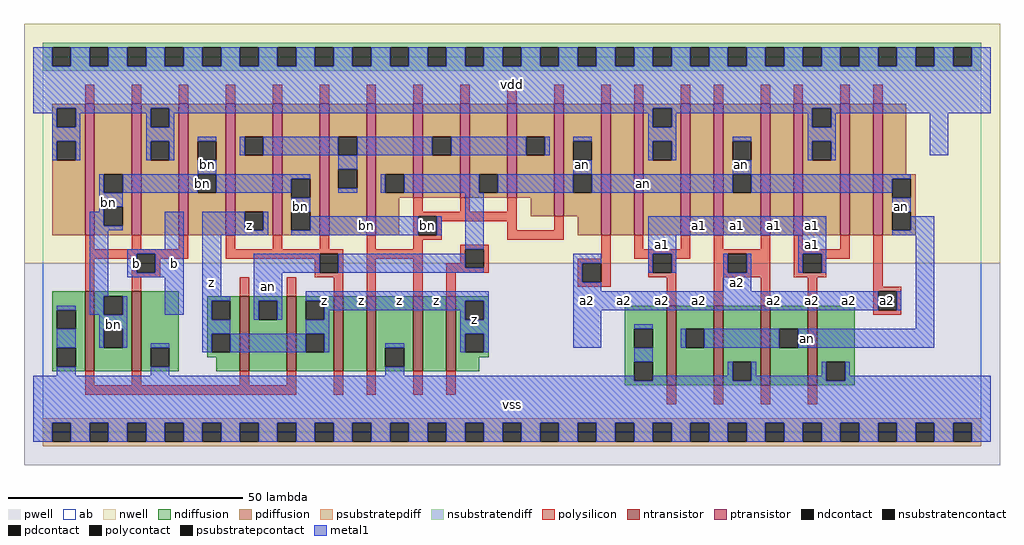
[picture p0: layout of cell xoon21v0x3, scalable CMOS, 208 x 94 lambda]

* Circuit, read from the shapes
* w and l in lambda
.subckt xoon21v0x3 a1 a2 an b bn vdd vss z
M1 bn b vss vss nfet w=17 l=2 m=2
M2 an b z vss nfet w=16 l=2 m=2
M3 n1 an z vss nfet w=16 l=2
M4 vss bn n1 vss nfet w=16 l=2
M5 n2 bn vss vss nfet w=16 l=2
M6 z an n2 vss nfet w=16 l=2
M7 an a1 vss vss nfet w=17 l=2 m=2
M8 vss a2 an vss nfet w=17 l=2 m=2
M9 bn b vdd vdd pfet w=28 l=2 m=3
M10 z an bn vdd pfet w=28 l=2 m=3
M11 an bn z vdd pfet w=28 l=2
M12 z bn an vdd pfet w=20 l=2 m=3
M13 an bn z vdd pfet w=24 l=2
M14 n3 a2 an vdd pfet w=28 l=2
M15 vdd a1 n3 vdd pfet w=28 l=2
M16 n4 a1 vdd vdd pfet w=28 l=2
M17 an a2 n4 vdd pfet w=28 l=2
M18 n5 a2 an vdd pfet w=28 l=2
M19 vdd a1 n5 vdd pfet w=28 l=2
M20 n6 a1 vdd vdd pfet w=28 l=2
M21 an a2 n6 vdd pfet w=28 l=2
.ends

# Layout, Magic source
magic
tech scmos
<< ab >>
rect 0 0 200 80
<< pwell >>
rect -4 -7 204 36
<< nwell >>
rect -4 36 204 87
<< polysilicon >>
rect 9 70 11 74
rect 19 70 21 74
rect 29 70 31 74
rect 39 70 41 74
rect 49 70 51 74
rect 59 70 61 74
rect 69 70 71 74
rect 79 70 81 74
rect 89 70 91 74
rect 99 70 101 74
rect 109 70 111 74
rect 119 70 121 74
rect 126 70 128 74
rect 136 70 138 74
rect 143 70 145 74
rect 153 70 155 74
rect 160 70 162 74
rect 170 70 172 74
rect 177 70 179 74
rect 79 47 81 50
rect 89 47 91 50
rect 99 47 101 50
rect 79 46 101 47
rect 79 42 80 46
rect 84 45 101 46
rect 84 42 85 45
rect 9 39 11 42
rect 19 39 21 42
rect 29 39 31 42
rect 9 38 31 39
rect 9 37 20 38
rect 9 30 11 37
rect 19 34 20 37
rect 24 37 31 38
rect 39 39 41 42
rect 49 39 51 42
rect 59 39 61 42
rect 69 39 71 42
rect 79 41 85 42
rect 99 43 101 45
rect 109 43 111 46
rect 99 41 111 43
rect 79 39 81 41
rect 39 38 64 39
rect 39 37 59 38
rect 24 34 25 37
rect 19 33 25 34
rect 58 34 59 37
rect 63 34 64 38
rect 58 33 64 34
rect 19 30 21 33
rect 42 29 44 33
rect 52 29 54 33
rect 62 29 64 33
rect 69 37 81 39
rect 69 29 71 37
rect 79 29 81 37
rect 89 39 95 40
rect 89 36 90 39
rect 86 35 90 36
rect 94 35 95 39
rect 119 37 121 42
rect 126 39 128 42
rect 136 39 138 42
rect 126 38 138 39
rect 126 37 130 38
rect 86 34 95 35
rect 114 36 121 37
rect 86 29 88 34
rect 114 32 115 36
rect 119 32 121 36
rect 129 34 130 37
rect 134 37 138 38
rect 143 39 145 42
rect 153 39 155 42
rect 143 38 155 39
rect 134 34 135 37
rect 129 33 135 34
rect 114 31 121 32
rect 133 27 135 33
rect 143 34 146 38
rect 150 34 155 38
rect 143 33 155 34
rect 160 39 162 42
rect 170 39 172 42
rect 160 38 172 39
rect 160 34 162 38
rect 166 37 172 38
rect 166 34 167 37
rect 160 33 167 34
rect 143 27 145 33
rect 153 27 155 33
rect 163 27 165 33
rect 177 31 179 42
rect 177 30 183 31
rect 9 10 11 13
rect 19 10 21 13
rect 42 10 44 13
rect 52 10 54 13
rect 9 8 54 10
rect 62 8 64 13
rect 69 8 71 13
rect 79 8 81 13
rect 86 8 88 13
rect 177 26 178 30
rect 182 26 183 30
rect 177 25 183 26
rect 133 6 135 10
rect 143 6 145 10
rect 153 6 155 10
rect 163 6 165 10
<< ndiffusion >>
rect 2 26 9 30
rect 2 22 3 26
rect 7 22 9 26
rect 2 18 9 22
rect 2 14 3 18
rect 7 14 9 18
rect 2 13 9 14
rect 11 29 19 30
rect 11 25 13 29
rect 17 25 19 29
rect 11 22 19 25
rect 11 18 13 22
rect 17 18 19 22
rect 11 13 19 18
rect 21 18 29 30
rect 21 14 23 18
rect 27 14 29 18
rect 35 28 42 29
rect 35 24 36 28
rect 40 24 42 28
rect 35 21 42 24
rect 35 17 36 21
rect 40 17 42 21
rect 35 16 42 17
rect 21 13 29 14
rect 37 13 42 16
rect 44 28 52 29
rect 44 24 46 28
rect 50 24 52 28
rect 44 13 52 24
rect 54 28 62 29
rect 54 24 56 28
rect 60 24 62 28
rect 54 21 62 24
rect 54 17 56 21
rect 60 17 62 21
rect 54 13 62 17
rect 64 13 69 29
rect 71 18 79 29
rect 71 14 73 18
rect 77 14 79 18
rect 71 13 79 14
rect 81 13 86 29
rect 88 28 95 29
rect 88 24 90 28
rect 94 24 95 28
rect 88 21 95 24
rect 88 17 90 21
rect 94 17 95 21
rect 88 16 95 17
rect 124 22 133 27
rect 124 18 126 22
rect 130 18 133 22
rect 88 13 93 16
rect 124 15 133 18
rect 124 11 126 15
rect 130 11 133 15
rect 124 10 133 11
rect 135 22 143 27
rect 135 18 137 22
rect 141 18 143 22
rect 135 10 143 18
rect 145 15 153 27
rect 145 11 147 15
rect 151 11 153 15
rect 145 10 153 11
rect 155 22 163 27
rect 155 18 157 22
rect 161 18 163 22
rect 155 10 163 18
rect 165 15 173 27
rect 165 11 167 15
rect 171 11 173 15
rect 165 10 173 11
<< pdiffusion >>
rect 2 69 9 70
rect 2 65 3 69
rect 7 65 9 69
rect 2 62 9 65
rect 2 58 3 62
rect 7 58 9 62
rect 2 42 9 58
rect 11 55 19 70
rect 11 51 13 55
rect 17 51 19 55
rect 11 48 19 51
rect 11 44 13 48
rect 17 44 19 48
rect 11 42 19 44
rect 21 69 29 70
rect 21 65 23 69
rect 27 65 29 69
rect 21 62 29 65
rect 21 58 23 62
rect 27 58 29 62
rect 21 42 29 58
rect 31 62 39 70
rect 31 58 33 62
rect 37 58 39 62
rect 31 55 39 58
rect 31 51 33 55
rect 37 51 39 55
rect 31 42 39 51
rect 41 63 49 70
rect 41 59 43 63
rect 47 59 49 63
rect 41 47 49 59
rect 41 43 43 47
rect 47 43 49 47
rect 41 42 49 43
rect 51 54 59 70
rect 51 50 53 54
rect 57 50 59 54
rect 51 47 59 50
rect 51 43 53 47
rect 57 43 59 47
rect 51 42 59 43
rect 61 63 69 70
rect 61 59 63 63
rect 67 59 69 63
rect 61 56 69 59
rect 61 52 63 56
rect 67 52 69 56
rect 61 42 69 52
rect 71 55 79 70
rect 71 51 73 55
rect 77 51 79 55
rect 71 50 79 51
rect 81 63 89 70
rect 81 59 83 63
rect 87 59 89 63
rect 81 50 89 59
rect 91 55 99 70
rect 91 51 93 55
rect 97 51 99 55
rect 91 50 99 51
rect 101 63 109 70
rect 101 59 103 63
rect 107 59 109 63
rect 101 50 109 59
rect 71 42 76 50
rect 104 46 109 50
rect 111 62 119 70
rect 111 58 113 62
rect 117 58 119 62
rect 111 55 119 58
rect 111 51 113 55
rect 117 51 119 55
rect 111 46 119 51
rect 114 42 119 46
rect 121 42 126 70
rect 128 69 136 70
rect 128 65 130 69
rect 134 65 136 69
rect 128 62 136 65
rect 128 58 130 62
rect 134 58 136 62
rect 128 42 136 58
rect 138 42 143 70
rect 145 62 153 70
rect 145 58 147 62
rect 151 58 153 62
rect 145 55 153 58
rect 145 51 147 55
rect 151 51 153 55
rect 145 42 153 51
rect 155 42 160 70
rect 162 69 170 70
rect 162 65 164 69
rect 168 65 170 69
rect 162 62 170 65
rect 162 58 164 62
rect 168 58 170 62
rect 162 42 170 58
rect 172 42 177 70
rect 179 55 184 70
rect 179 54 186 55
rect 179 50 181 54
rect 185 50 186 54
rect 179 47 186 50
rect 179 43 181 47
rect 185 43 186 47
rect 179 42 186 43
<< metal1 >>
rect -2 78 2 82
rect 6 78 10 82
rect 14 78 18 82
rect 22 78 26 82
rect 30 78 34 82
rect 38 78 42 82
rect 46 78 50 82
rect 54 78 58 82
rect 62 78 66 82
rect 70 78 74 82
rect 78 78 82 82
rect 86 78 90 82
rect 94 78 98 82
rect 102 78 106 82
rect 110 78 114 82
rect 118 78 122 82
rect 126 78 130 82
rect 134 78 138 82
rect 142 78 146 82
rect 150 78 154 82
rect 158 78 162 82
rect 166 78 170 82
rect 174 78 178 82
rect 182 78 186 82
rect 190 78 194 82
rect 198 78 202 82
rect -2 69 202 78
rect -2 68 3 69
rect 2 65 3 68
rect 7 68 23 69
rect 7 65 8 68
rect 2 62 8 65
rect 2 58 3 62
rect 7 58 8 62
rect 22 65 23 68
rect 27 68 130 69
rect 27 65 28 68
rect 22 62 28 65
rect 129 65 130 68
rect 134 68 164 69
rect 134 65 135 68
rect 22 58 23 62
rect 27 58 28 62
rect 33 62 37 63
rect 42 59 43 63
rect 47 59 63 63
rect 67 59 83 63
rect 87 59 103 63
rect 107 59 108 63
rect 113 62 117 63
rect 33 55 37 58
rect 63 56 67 59
rect 12 51 13 55
rect 17 51 33 55
rect 37 54 57 55
rect 37 51 53 54
rect 12 48 17 51
rect 12 47 13 48
rect 10 44 13 47
rect 129 62 135 65
rect 163 65 164 68
rect 168 68 202 69
rect 168 65 169 68
rect 129 58 130 62
rect 134 58 135 62
rect 147 62 151 63
rect 163 62 169 65
rect 163 58 164 62
rect 168 58 169 62
rect 189 59 193 68
rect 113 55 117 58
rect 147 55 151 58
rect 63 51 67 52
rect 72 51 73 55
rect 77 51 93 55
rect 97 51 113 55
rect 117 51 147 55
rect 151 54 185 55
rect 151 51 181 54
rect 53 47 57 50
rect 10 43 17 44
rect 10 29 14 43
rect 26 39 30 47
rect 18 38 30 39
rect 18 34 20 38
rect 24 34 30 38
rect 18 33 30 34
rect 3 26 7 27
rect 10 25 13 29
rect 17 25 18 29
rect 26 25 30 33
rect 34 43 43 47
rect 47 43 48 47
rect 34 42 48 43
rect 57 43 80 46
rect 53 42 80 43
rect 84 42 85 46
rect 34 29 38 42
rect 90 39 94 51
rect 181 47 185 50
rect 45 34 59 38
rect 63 35 90 38
rect 129 42 167 46
rect 185 43 190 46
rect 181 42 190 43
rect 129 38 135 42
rect 161 38 167 42
rect 63 34 94 35
rect 113 36 119 38
rect 34 28 40 29
rect 3 18 7 22
rect 12 22 18 25
rect 12 18 13 22
rect 17 18 18 22
rect 34 24 36 28
rect 45 28 51 34
rect 113 32 115 36
rect 129 34 130 38
rect 134 34 135 38
rect 145 34 146 38
rect 150 34 151 38
rect 161 34 162 38
rect 166 34 167 38
rect 113 30 119 32
rect 145 30 151 34
rect 45 24 46 28
rect 50 24 51 28
rect 56 28 95 30
rect 60 26 90 28
rect 60 24 61 26
rect 34 21 40 24
rect 56 21 61 24
rect 23 18 27 19
rect 3 12 7 14
rect 34 17 36 21
rect 40 17 56 21
rect 60 17 61 21
rect 89 24 90 26
rect 94 24 95 28
rect 89 21 95 24
rect 73 18 77 19
rect 23 12 27 14
rect 89 17 90 21
rect 94 17 95 21
rect 113 26 178 30
rect 182 26 183 30
rect 113 18 119 26
rect 126 22 130 23
rect 186 22 190 42
rect 136 18 137 22
rect 141 18 157 22
rect 161 18 190 22
rect 73 12 77 14
rect 126 15 130 18
rect -2 11 126 12
rect 146 12 147 15
rect 130 11 147 12
rect 151 12 152 15
rect 166 12 167 15
rect 151 11 167 12
rect 171 12 172 15
rect 171 11 202 12
rect -2 2 202 11
rect -2 -2 2 2
rect 6 -2 10 2
rect 14 -2 18 2
rect 22 -2 26 2
rect 30 -2 34 2
rect 38 -2 42 2
rect 46 -2 50 2
rect 54 -2 58 2
rect 62 -2 66 2
rect 70 -2 74 2
rect 78 -2 82 2
rect 86 -2 90 2
rect 94 -2 98 2
rect 102 -2 106 2
rect 110 -2 114 2
rect 118 -2 122 2
rect 126 -2 130 2
rect 134 -2 138 2
rect 142 -2 146 2
rect 150 -2 154 2
rect 158 -2 162 2
rect 166 -2 170 2
rect 174 -2 178 2
rect 182 -2 186 2
rect 190 -2 194 2
rect 198 -2 202 2
<< ntransistor >>
rect 9 13 11 30
rect 19 13 21 30
rect 42 13 44 29
rect 52 13 54 29
rect 62 13 64 29
rect 69 13 71 29
rect 79 13 81 29
rect 86 13 88 29
rect 133 10 135 27
rect 143 10 145 27
rect 153 10 155 27
rect 163 10 165 27
<< ptransistor >>
rect 9 42 11 70
rect 19 42 21 70
rect 29 42 31 70
rect 39 42 41 70
rect 49 42 51 70
rect 59 42 61 70
rect 69 42 71 70
rect 79 50 81 70
rect 89 50 91 70
rect 99 50 101 70
rect 109 46 111 70
rect 119 42 121 70
rect 126 42 128 70
rect 136 42 138 70
rect 143 42 145 70
rect 153 42 155 70
rect 160 42 162 70
rect 170 42 172 70
rect 177 42 179 70
<< polycontact >>
rect 80 42 84 46
rect 20 34 24 38
rect 59 34 63 38
rect 90 35 94 39
rect 115 32 119 36
rect 130 34 134 38
rect 146 34 150 38
rect 162 34 166 38
rect 178 26 182 30
<< ndcontact >>
rect 3 22 7 26
rect 3 14 7 18
rect 13 25 17 29
rect 13 18 17 22
rect 23 14 27 18
rect 36 24 40 28
rect 36 17 40 21
rect 46 24 50 28
rect 56 24 60 28
rect 56 17 60 21
rect 73 14 77 18
rect 90 24 94 28
rect 90 17 94 21
rect 126 18 130 22
rect 126 11 130 15
rect 137 18 141 22
rect 147 11 151 15
rect 157 18 161 22
rect 167 11 171 15
<< pdcontact >>
rect 3 65 7 69
rect 3 58 7 62
rect 13 51 17 55
rect 13 44 17 48
rect 23 65 27 69
rect 23 58 27 62
rect 33 58 37 62
rect 33 51 37 55
rect 43 59 47 63
rect 43 43 47 47
rect 53 50 57 54
rect 53 43 57 47
rect 63 59 67 63
rect 63 52 67 56
rect 73 51 77 55
rect 83 59 87 63
rect 93 51 97 55
rect 103 59 107 63
rect 113 58 117 62
rect 113 51 117 55
rect 130 65 134 69
rect 130 58 134 62
rect 147 58 151 62
rect 147 51 151 55
rect 164 65 168 69
rect 164 58 168 62
rect 181 50 185 54
rect 181 43 185 47
<< psubstratepcontact >>
rect 2 -2 6 2
rect 10 -2 14 2
rect 18 -2 22 2
rect 26 -2 30 2
rect 34 -2 38 2
rect 42 -2 46 2
rect 50 -2 54 2
rect 58 -2 62 2
rect 66 -2 70 2
rect 74 -2 78 2
rect 82 -2 86 2
rect 90 -2 94 2
rect 98 -2 102 2
rect 106 -2 110 2
rect 114 -2 118 2
rect 122 -2 126 2
rect 130 -2 134 2
rect 138 -2 142 2
rect 146 -2 150 2
rect 154 -2 158 2
rect 162 -2 166 2
rect 170 -2 174 2
rect 178 -2 182 2
rect 186 -2 190 2
rect 194 -2 198 2
<< nsubstratencontact >>
rect 2 78 6 82
rect 10 78 14 82
rect 18 78 22 82
rect 26 78 30 82
rect 34 78 38 82
rect 42 78 46 82
rect 50 78 54 82
rect 58 78 62 82
rect 66 78 70 82
rect 74 78 78 82
rect 82 78 86 82
rect 90 78 94 82
rect 98 78 102 82
rect 106 78 110 82
rect 114 78 118 82
rect 122 78 126 82
rect 130 78 134 82
rect 138 78 142 82
rect 146 78 150 82
rect 154 78 158 82
rect 162 78 166 82
rect 170 78 174 82
rect 178 78 182 82
rect 186 78 190 82
rect 194 78 198 82
<< psubstratepdiff >>
rect 0 2 200 3
rect 0 -2 2 2
rect 6 -2 10 2
rect 14 -2 18 2
rect 22 -2 26 2
rect 30 -2 34 2
rect 38 -2 42 2
rect 46 -2 50 2
rect 54 -2 58 2
rect 62 -2 66 2
rect 70 -2 74 2
rect 78 -2 82 2
rect 86 -2 90 2
rect 94 -2 98 2
rect 102 -2 106 2
rect 110 -2 114 2
rect 118 -2 122 2
rect 126 -2 130 2
rect 134 -2 138 2
rect 142 -2 146 2
rect 150 -2 154 2
rect 158 -2 162 2
rect 166 -2 170 2
rect 174 -2 178 2
rect 182 -2 186 2
rect 190 -2 194 2
rect 198 -2 200 2
rect 0 -3 200 -2
<< nsubstratendiff >>
rect 0 82 200 83
rect 0 78 2 82
rect 6 78 10 82
rect 14 78 18 82
rect 22 78 26 82
rect 30 78 34 82
rect 38 78 42 82
rect 46 78 50 82
rect 54 78 58 82
rect 62 78 66 82
rect 70 78 74 82
rect 78 78 82 82
rect 86 78 90 82
rect 94 78 98 82
rect 102 78 106 82
rect 110 78 114 82
rect 118 78 122 82
rect 126 78 130 82
rect 134 78 138 82
rect 142 78 146 82
rect 150 78 154 82
rect 158 78 162 82
rect 166 78 170 82
rect 174 78 178 82
rect 182 78 186 82
rect 190 78 194 82
rect 198 78 200 82
rect 0 77 200 78
<< labels >>
rlabel polycontact 82 44 82 44 6 bn
rlabel metal1 15 23 15 23 6 bn
rlabel metal1 20 36 20 36 6 b
rlabel metal1 28 36 28 36 6 b
rlabel metal1 14 49 14 49 6 bn
rlabel metal1 60 28 60 28 6 z
rlabel metal1 48 31 48 31 6 an
rlabel metal1 36 32 36 32 6 z
rlabel pdcontact 44 44 44 44 6 z
rlabel pdcontact 34 53 34 53 6 bn
rlabel metal1 35 57 35 57 6 bn
rlabel metal1 55 48 55 48 6 bn
rlabel metal1 76 28 76 28 6 z
rlabel metal1 92 24 92 24 6 z
rlabel metal1 84 28 84 28 6 z
rlabel metal1 68 28 68 28 6 z
rlabel metal1 69 44 69 44 6 bn
rlabel metal1 100 6 100 6 6 vss
rlabel metal1 116 28 116 28 6 a2
rlabel metal1 124 28 124 28 6 a2
rlabel metal1 132 28 132 28 6 a2
rlabel metal1 132 40 132 40 6 a1
rlabel metal1 115 57 115 57 6 an
rlabel metal1 100 74 100 74 6 vdd
rlabel metal1 156 28 156 28 6 a2
rlabel metal1 140 28 140 28 6 a2
rlabel metal1 164 28 164 28 6 a2
rlabel metal1 148 32 148 32 6 a2
rlabel metal1 156 44 156 44 6 a1
rlabel metal1 148 44 148 44 6 a1
rlabel metal1 140 44 140 44 6 a1
rlabel metal1 164 40 164 40 6 a1
rlabel metal1 164 44 164 44 6 a1
rlabel metal1 149 57 149 57 6 an
rlabel metal1 163 20 163 20 6 an
rlabel polycontact 180 28 180 28 6 a2
rlabel metal1 172 28 172 28 6 a2
rlabel metal1 128 53 128 53 6 an
rlabel metal1 183 48 183 48 6 an
<< end >>
